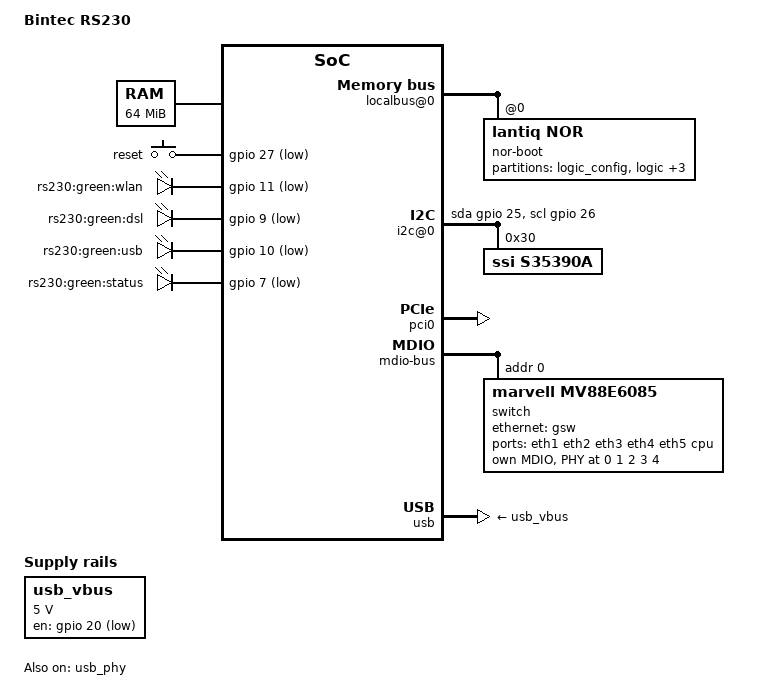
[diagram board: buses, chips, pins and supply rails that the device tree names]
/dts-v1/;

#include "danube.dtsi"

/ {
	compatible = "bintec,rs230", "lantiq,xway", "lantiq,danube";
	model = "Bintec RS230";

	chosen {
		bootargs = "console=ttyLTQ0,115200 init=/etc/preinit";

	};

	aliases {
                led-running = &status_green;
                led-boot = &status_green;
                led-wifi = &wlan_green;
                led-usb = &usb_green;
                led-dsl = &dsl_green;
        };


	memory@0 {
		device_type = "memory";
		reg = <0x0 0x4000000>;
	};

	sram@1F000000 {
		vmmc@107000 {
			status = "okay";
		};
	};

	fpi@10000000 {
		localbus@0 {
			nor-boot@0 {
				compatible = "lantiq,nor";
				bank-width = <2>;
				reg = <0 0x0 0x1000000>;
				#address-cells = <1>;
				#size-cells = <1>;

				partitions {
					compatible = "fixed-partitions";
					#address-cells = <1>;
					#size-cells = <1>;

					boardconfig:partition@0 {
						label = "logic_config";
						reg = <0x00000 0x20000>;
						read-only;
					};

					partition@20000 {
						label = "logic";
						reg = <0x20000 0x20000>;
						read-only;
					};

					partition@40000 {
						label = "bootmonitor";
						reg = <0x40000 0x20000>;
						read-only;
					};

					partition@61000 {
						label = "flash_config";
						reg = <0x61000 0x1f000>;
						read-only;
					};

					partition@80000 {
						label = "firmware";
						reg = <0x80000 0xF80000>;
					};
				};
			};

		};

		gpio: pinmux@e100b10 {
			pinctrl-names = "default";
			pinctrl-0 = <&state_default>;

			state_default: pinmux {
				stp {
					lantiq,groups = "stp";
					lantiq,function = "stp";
				};
				pci {
					lantiq,groups = "gnt1";
					lantiq,function = "pci";
				};
				conf_out {
					lantiq,pins = "io4", "io5", "io6"; /* stp */
					lantiq,open-drain;
					lantiq,pull = <0>;
				};
				ebu {
					lantiq,groups = "ebu cs1";
					lantiq,function = "ebu";

				};
				usb_rst {
					lantiq,pins = "io17";
					lantiq,pull = <2>;
					lantiq,output = <1>;
				};
				switch_rst {
					lantiq,pins = "io19";
					lantiq,pull = <2>;
					lantiq,output = <1>;
				};
			};
		};

		/* warning: passive port
		only works with active devices */
		ifxhcd@E101000 {
			status = "okay";
		};

	};

        i2c@0 {
                compatible = "i2c-gpio";
                gpios = <&gpio 25 0 /* sda */
                        &gpio 26 0 /* scl */
                        >;
                i2c-gpio,delay-us = <2>;        /* ~100 kHz */

                #address-cells = <1>;
                #size-cells = <0>;
                s35390a: s35390a@30 {
                        compatible = "ssi,s35390a";
                        reg = <0x30>;
                };
        };

	keys {
                compatible = "gpio-keys-polled";
                #address-cells = <1>;
                #size-cells = <0>;
                poll-interval = <100>;

                reset {
                        label = "reset";
                        gpios = <&gpio 27 GPIO_ACTIVE_LOW>;
                        linux,code = <0x198>;
                };
	};

	leds {
		compatible = "gpio-leds";		
                wlan_green: wlan {
                        label = "rs230:green:wlan";
                        gpios = <&gpio 11 GPIO_ACTIVE_LOW>;
                };

                dsl_green: dsl {
                        label = "rs230:green:dsl";
                        gpios = <&gpio 9 GPIO_ACTIVE_LOW>;
                };

                usb_green: usb {
                        label = "rs230:green:usb";
                        gpios = <&gpio 10 GPIO_ACTIVE_LOW>;
                };

                status_green: status {
                        label = "rs230:green:status";
                        gpios = <&gpio 7 GPIO_ACTIVE_LOW>;
                };
	
	};

	usb_vbus: regulator-usb-vbus {
		compatible = "regulator-fixed";

		regulator-name = "USB_VBUS";

		regulator-min-microvolt = <5000000>;
		regulator-max-microvolt = <5000000>;

		gpio = <&gpio 20 GPIO_ACTIVE_LOW>;
		enable-active-low;
	};
};

&pci0 {
	status = "okay";
	gpio-reset = <&gpio 21 GPIO_ACTIVE_HIGH>;
};

&gsw {
	phy-mode = "mii";
	mtd-mac-address = <&boardconfig 0x428>;

	mdio-bus {
		#address-cells = <1>;
		#size-cells = <0>;

		switch: switch@0 {
			compatible = "marvell,mv88e6085";
			reg = <0>;
			#size-cells = <0>;

			ports {
				#address-cells = <1>;
				#size-cells = <0>;

				port@0 {
					reg = <0>;
					label = "eth1";
					phy-handle = <&lan1phy>;
				};

				port@1 {
					reg = <1>;
					label = "eth2";
					phy-handle = <&lan2phy>;
				};

				port@2 {
					reg = <2>;
					label = "eth3";
					phy-handle = <&lan3phy>;
				};

				port@3 {
					reg = <3>;
					label = "eth4";
					phy-handle = <&lan4phy>;
				};

				port@4 {
					reg = <4>;
					label = "eth5";
					phy-handle = <&lan5phy>;
				};

				port@5 {
					reg = <5>;
					label = "cpu";
					ethernet = <&gsw>;
					phy-mode = "sgmii";
					fixed-link {
						speed = <100>;
						full-duplex;
					};
				};
			};

			mdio {
				#address-cells = <1>;
				#size-cells = <0>;

				lan1phy: ethernet-phy@0 {
					/* Marvell 88E1121R (port 1) */
					compatible = "ethernet-phy-id0141.0cb0",
					"ethernet-phy-ieee802.3-c22";
					reg = <0>;
					marvell,reg-init = <3 16 0 0x1777 3 17 0 0x15>;
				};
				lan2phy: ethernet-phy@1 {
					/* Marvell 88E1121R (port 2) */
					compatible = "ethernet-phy-id0141.0cb0",
					"ethernet-phy-ieee802.3-c22";
					reg = <1>;
					marvell,reg-init = <3 16 0 0x1777 3 17 0 0x15>;
				};
				lan3phy: ethernet-phy@2 {
					/* Marvell 88E1121R (port 3) */
					compatible = "ethernet-phy-id0141.0cb0",
					"ethernet-phy-ieee802.3-c22";
					reg = <2>;
					marvell,reg-init = <3 16 0 0x1777 3 17 0 0x15>;
				};
				lan4phy: ethernet-phy@3 {
					/* Marvell 88E1121R (port 4) */
					compatible = "ethernet-phy-id0141.0cb0",
					"ethernet-phy-ieee802.3-c22";
					reg = <3>;
					marvell,reg-init = <3 16 0 0x1777 3 17 0 0x15>;
				};
				lan5phy: ethernet-phy@4 {
					/* Marvell 88E1121R (port 5) */
					compatible = "ethernet-phy-id0141.0cb0",
					"ethernet-phy-ieee802.3-c22";
					reg = <4>;
					marvell,reg-init = <3 16 0 0x1777 3 17 0 0x15>;
				};
			};
		};
	};
};

&usb_phy {
	status = "okay";
};

&usb {
	status = "okay";
	vbus-supply = <&usb_vbus>;
};

